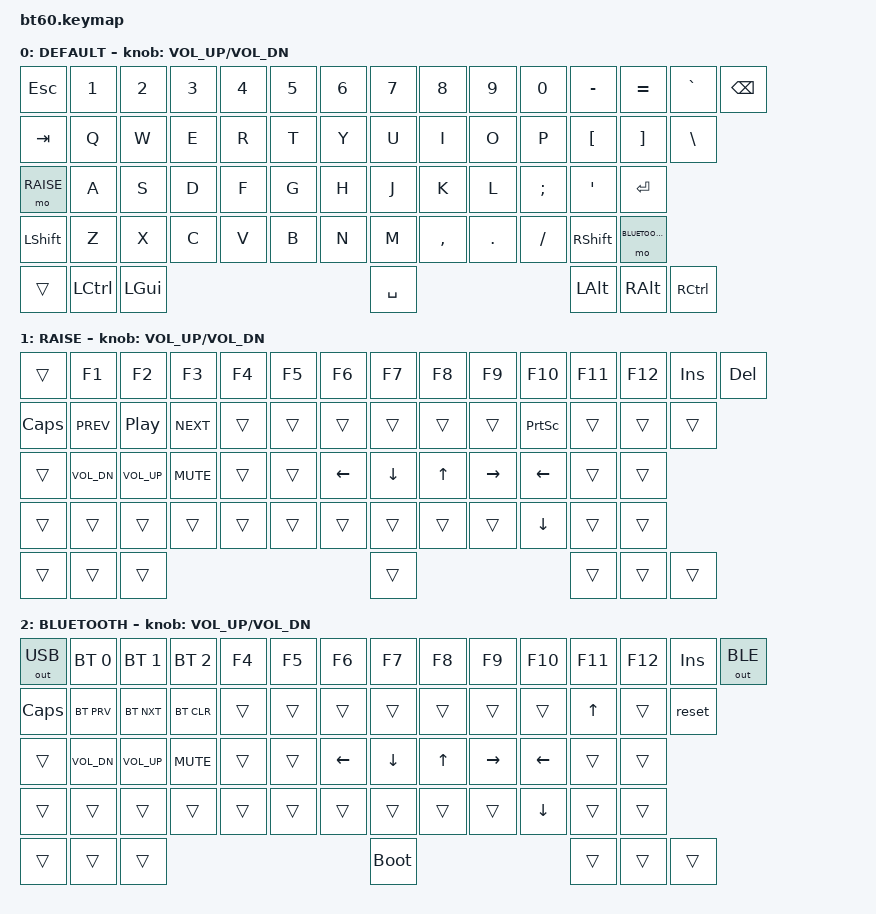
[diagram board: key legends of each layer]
#include <behaviors.dtsi>
#include <dt-bindings/zmk/keys.h>
#include <dt-bindings/zmk/bt.h>
#include <dt-bindings/zmk/outputs.h>

#define DEFAULT 0
#define RAISE   1
#define BLUETOOTH   2

/ {
	keymap {
		compatible = "zmk,keymap";

		DEFAULT {
				// ------------------------------------------------------------------------------------------
				// | ESC |  1  |  2  |  3  |  4  |  5  |  6  |  7  |  8  |  9  |  0  |  -  |  =  |  \  | `  |
				// | TAB  |  Q  |  W  |  E  |  R  |  T  |  Y  |  U  |  I  |  O  |  P  |  [  |  ]  |  BSPC   |
				// | CTRL  |  A  |  S  |  D  |  F  |  G  |  H  |  J  |  K  |  L  |  ;  |  '  |      ENTER   |
				// |  SHIFT    |  Z  |  X  |  C  |  V  |  B  |  N  |  M  |  ,  |  .  | /   | SHIFT |   1    |
				// |  CAPS  |  ALT  |  WIN |                     SPACE               |   WIN   | ALT | CTRL |
				// ------------------------------------------------------------------------------------------
			bindings = <
				&kp ESC       &kp N1          &kp N2          &kp N3        &kp N4    &kp N5    &kp N6    &kp N7    &kp  N8      &kp  N9     &kp  N0       &kp MINUS     &kp EQUAL          &kp GRAVE    &kp BSPC
				&kp TAB       &kp Q           &kp W           &kp E         &kp R     &kp T     &kp Y     &kp U     &kp  I       &kp  O      &kp  P        &kp LBKT      &kp RBKT           &kp BSLH
				&mo RAISE		  &kp A           &kp S           &kp D         &kp F     &kp G     &kp H     &kp J     &kp  K       &kp  L      &kp SEMI      &kp SQT       &kp RET
				&kp LSHFT     &kp Z           &kp X           &kp C         &kp V     &kp B     &kp N     &kp M     &kp COMMA    &kp DOT     &kp FSLH      &kp RSHFT     &mo BLUETOOTH
				&trans        &kp LCTRL       &kp LGUI                                                    &kp SPACE                                        &kp LALT     &kp RALT           &kp RCTRL
			>;
			sensor-bindings = <&inc_dec_kp C_VOL_UP C_VOL_DN>;
		};
		RAISE {
			bindings = <
				&trans        &kp F1          &kp F2          &kp F3        &kp F4    &kp F5    &kp F6    &kp F7    &kp F8       &kp F9      &kp F10       &kp F11       &kp F12            &kp INS      &kp DEL
				&kp CLCK      &kp C_PREV      &kp C_PP      &kp C_NEXT    &trans    &trans    &trans    &trans    &trans       &trans      &kp PSCRN        &trans        &trans             &trans
				&trans        &kp C_VOL_DN    &kp C_VOL_UP    &kp C_MUTE    &trans    &trans    &kp LEFT  &kp DOWN  &kp UP 		 &kp RIGHT   &kp LEFT      &trans        &trans
				&trans        &trans          &trans          &trans        &trans    &trans    &trans    &trans    &trans       &trans      &kp DOWN      &trans        &trans
				&trans        &trans          &trans                                                      &trans                                      &trans        &trans             &trans
			>;
			sensor-bindings = <&inc_dec_kp C_VOL_UP C_VOL_DN>;
		};
		BLUETOOTH {
			bindings = <
				&out OUT_USB        &bt BT_SEL 0          &bt BT_SEL 1         &bt BT_SEL 2       &kp F4    &kp F5    &kp F6    &kp F7    &kp F8       &kp F9      &kp F10       &kp F11       &kp F12            &kp INS      &out OUT_BLE
				&kp CLCK      &bt BT_PRV      &bt BT_NXT      &bt BT_CLR    &trans    &trans    &trans    &trans    &trans       &trans      &trans        &kp UP        &trans             &reset
				&trans        &kp C_VOL_DN    &kp C_VOL_UP    &kp C_MUTE    &trans    &trans    &kp LEFT  &kp DOWN  &kp UP 		 &kp RIGHT   &kp LEFT      &trans        &trans
				&trans        &trans          &trans          &trans        &trans    &trans    &trans    &trans    &trans       &trans      &kp DOWN      &trans        &trans
				&trans        &trans          &trans                                                      &bootloader                                      &trans        &trans             &trans
			>;
			sensor-bindings = <&inc_dec_kp C_VOL_UP C_VOL_DN>;
		};
	};
};
